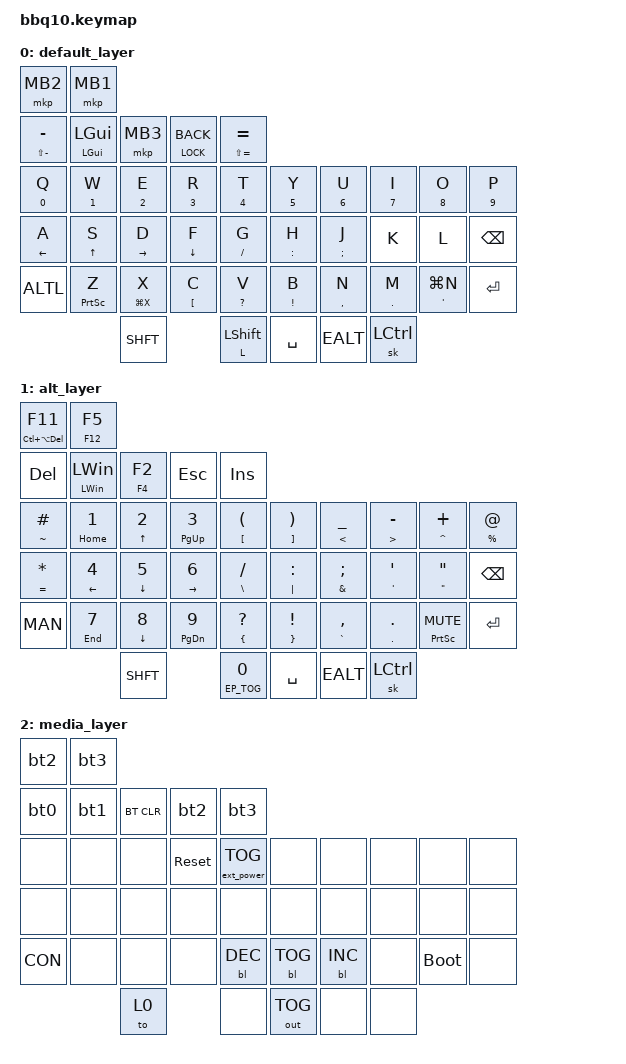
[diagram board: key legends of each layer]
/*
 * Copyright (c) 2023 ZitaoTech
 * "BlueBerry" Android Layout by Drexel Macintosh    
 * SPDX-License-Identifier: MIT 
 */

#include <behaviors.dtsi>
#include <dt-bindings/zmk/backlight.h>
#include <dt-bindings/zmk/bt.h>
#include <dt-bindings/zmk/ext_power.h>
#include <dt-bindings/zmk/keys.h>
#include <dt-bindings/zmk/mouse.h>
#include <dt-bindings/zmk/outputs.h>

#define ALT 1
#define UPPER 2
#define MEDIA 3

// Standard Behavior Configurations:

&mt {
    flavor = "tap-preferred";
    tapping-term-ms = <200>;
};

&sk { release-after-ms = <2500>; };

&sl { release-after-ms = <2500>; };

/ {
    //Behaviors Start Here:

    behaviors {
        // Tap Dance Behaviors

        td0: tap_dance_0 {
            compatible = "zmk,behavior-tap-dance";
            #binding-cells = <0>;
            tapping-term-ms = <300>;
            bindings = <&mkp LCLK>, <&bt BT_CLR>;
        };

        ALTL: tap_dance_1 {
            compatible = "zmk,behavior-tap-dance";
            #binding-cells = <0>;
            tapping-term-ms = <300>;
            bindings = <&sl 1>, <&to 1>;
        };

        SHFT: tap_dance_2 {
            compatible = "zmk,behavior-tap-dance";
            #binding-cells = <0>;
            tapping-term-ms = <300>;
            bindings = <&sk LSHFT>, <&kp CLCK>;
        };

        MED: tap_dance_3 {
            compatible = "zmk,behavior-tap-dance";
            #binding-cells = <0>;
            tapping-term-ms = <250>;
            bindings = <&to 0>, <&to 2>;
        };

        MAN: tap_dance_4 {
            compatible = "zmk,behavior-tap-dance";
            #binding-cells = <0>;
            tapping-term-ms = <250>;
            bindings = <&to 0>, <&to 2>;
        };

        EALT: tap_dance_5 {
            compatible = "zmk,behavior-tap-dance";
            #binding-cells = <0>;
            tapping-term-ms = <300>;
            bindings = <&sk LALT>, <&kp LALT>;
        };

        ECTRL: tap_dance_6 {
            compatible = "zmk,behavior-tap-dance";
            #binding-cells = <0>;
            tapping-term-ms = <300>;
            bindings = <&sk LCTRL>, <&kp LC(SPACE)>;
        };

        EMU: tap_dance_7 {
            compatible = "zmk,behavior-tap-dance";
            #binding-cells = <0>;
            tapping-term-ms = <250>;
            bindings = <&to 0>, <&to 2>;
        };

        CON: tap_dance_8 {
            compatible = "zmk,behavior-tap-dance";
            #binding-cells = <0>;
            tapping-term-ms = <250>;
            bindings = <&to 0>, <&to 0>;
        };

        // Macro Behaviors

        tap: tap {
            compatible = "zmk,behavior-macro-one-param";
            #binding-cells = <1>;
            bindings = <&macro_param_1to1 &kp MACRO_PLACEHOLDER>;
        };

        glo: globe_pseudo_mod {
            compatible = "zmk,behavior-macro-one-param";
            #binding-cells = <1>;
            bindings =
                <&macro_press>,
                <&kp GLOBE &macro_param_1to1>,
                <&macro_tap>,
                <&kp MACRO_PLACEHOLDER>,
                <&macro_release>,
                <&kp GLOBE>;
        };

        bt0: bt0 {
            compatible = "zmk,behavior-macro";
            #binding-cells = <0>;
            bindings = <&bt BT_SEL 0 &bt BT_DISC 1 &bt BT_DISC 2 &bt BT_DISC 3 &bt BT_DISC 4>;
            label = "BT0";
        };

        bt1: bt1 {
            compatible = "zmk,behavior-macro";
            #binding-cells = <0>;
            bindings = <&bt BT_SEL 1 &bt BT_DISC 0 &bt BT_DISC 2 &bt BT_DISC 3 &bt BT_DISC 4>;
            label = "BT1";
        };

        bt2: bt2 {
            compatible = "zmk,behavior-macro";
            #binding-cells = <0>;
            bindings = <&bt BT_SEL 2 &bt BT_DISC 0 &bt BT_DISC 1 &bt BT_DISC 3 &bt BT_DISC 4>;
            label = "BT2";
        };

        bt3: bt3 {
            compatible = "zmk,behavior-macro";
            #binding-cells = <0>;
            bindings = <&bt BT_SEL 3 &bt BT_DISC 0 &bt BT_DISC 1 &bt BT_DISC 2 &bt BT_DISC 4>;
            label = "BT3";
        };

        // Hold Tap Behaviors

        KPM: behavior_KPM {
            compatible = "zmk,behavior-hold-tap";
            label = "KPM";
            #binding-cells = <2>;
            flavor = "tap-preferred";
            tapping-term-ms = <400>;
            bindings = <&msc>, <&kp>;
        };

        hm: homerow_mods {
            compatible = "zmk,behavior-hold-tap";
            #binding-cells = <2>;
            tapping-term-ms = <500>;
            bindings = <&out &kp>;
        };

        hm2: homerow_mods_2 {
            compatible = "zmk,behavior-hold-tap";
            #binding-cells = <2>;
            tapping-term-ms = <500>;
            bindings = <&ext_power &kp>;
        };

        mtt: mod_tap_tap {
            compatible = "zmk,behavior-hold-tap";
            #binding-cells = <2>;
            flavor = "tap-preferred";
            tapping-term-ms = <190>;
            quick-tap-ms = <125>;
            require-prior-idle-ms = <125>;
            bindings = <&tap>, <&tap>;
        };

        msk: mod_Stick_Pre {
            compatible = "zmk,behavior-hold-tap";
            #binding-cells = <2>;
            flavor = "tap-preferred";
            tapping-term-ms = <200>;
            quick-tap-ms = <125>;
            require-prior-idle-ms = <125>;
            bindings = <&sk>, <&kp>;
        };

        alt_to: behavior_alt_to {
            compatible = "zmk,behavior-hold-tap";
            label = "alt_to";
            #binding-cells = <2>;
            flavor = "tap-preferred";
            tapping-term-ms = <300>;
            bindings = <&kp>, <&to>;
        };

        glb: mod_tap_glo {
            compatible = "zmk,behavior-hold-tap";
            #binding-cells = <2>;
            flavor = "tap-preferred";
            tapping-term-ms = <200>;
            quick-tap-ms = <125>;
            require-prior-idle-ms = <125>;
            bindings = <&kp>, <&glo>;
        };

        mou: mod_mouse {
            compatible = "zmk,behavior-hold-tap";
            #binding-cells = <2>;
            flavor = "tap-preferred";
            tapping-term-ms = <200>;
            quick-tap-ms = <125>;
            require-prior-idle-ms = <125>;
            bindings = <&mkp >, <&mkp >;
        };

        //End Behvaiors here
    };

    macros {
    };

    keymap {
        compatible = "zmk,keymap";

        default_layer {
            bindings = <
&mkp MB2              &mkp MB1
&msk LS(MINUS) MINUS  &msk LGUI LGUI  &mkp MB3      &msk K_LOCK K_BACK  &msk LS(EQUAL) EQUAL
&mtt N0 Q             &mtt N1 W       &mtt N2 E     &mtt N3 R           &mtt N4 T             &mtt N5 Y       &mtt N6 U     &mtt N7 I   &mtt N8 O       &mtt N9 P
&mtt LEFT A           &mtt UP S       &mtt RIGHT D  &mtt DOWN F         &mtt FSLH G           &mtt COLON H    &mtt SEMI J   &kp K       &kp L           &kp BSPC
&ALTL                 &mtt PSCRN Z    &mtt LG(X) X  &mtt LBKT C         &mtt QMARK V          &mtt EXCL B     &mtt COMMA N  &mtt DOT M  &mtt SQT LG(N)  &kp ENTER
                                      &SHFT                             &mtt L LEFT_SHIFT     &kp SPACE       &EALT         &sk LCTRL
            >;
        };

        alt_layer {
            bindings = <
&mtt LC(LA(DEL)) F11  &mtt F12 F5
&kp DEL               &mtt LEFT_WIN LEFT_WIN  &mtt F4 F2    &kp ESC        &kp INS
&mtt TILDE HASH       &mtt HOME N1            &mtt UP N2    &mtt PG_UP N3  &mtt LBKT LPAR   &mtt RBKT RPAR     &mtt LT UNDER     &mtt GT MINUS   &mtt CARET PLUS    &mtt PERCENT AT
&mtt EQUAL STAR       &mtt LEFT N4            &mtt DOWN N5  &mtt RIGHT N6  &mtt BSLH SLASH  &mtt PIPE COLON    &mtt AMPS SEMI    &mtt APOS APOS  &mtt DQT DQT       &kp BSPC
&MAN                  &mtt END N7             &mtt DOWN N8  &mtt PG_DN N9  &mtt LBRC QMARK  &mtt RBRC EXCL     &mtt GRAVE COMMA  &mtt DOT DOT    &mtt PSCRN C_MUTE  &kp ENTER
                                              &SHFT                        &hm2 EP_TOG N0   &kp SPACE          &EALT             &sk LCTRL
            >;
        };

        media_layer {
            bindings = <
&bt2   &bt3
&bt0   &bt1   &bt BT_CLR  &bt2        &bt3
&none  &none  &none       &sys_reset  &ext_power EP_TOG  &none           &none       &none  &none        &none
&none  &none  &none       &none       &none              &none           &none       &none  &none        &none
&CON   &none  &none       &none       &bl BL_DEC         &bl BL_TOG      &bl BL_INC  &none  &bootloader  &none
              &to 0                   &none              &out OUT_TOG    &none       &none
            >;
        };
    };
};
